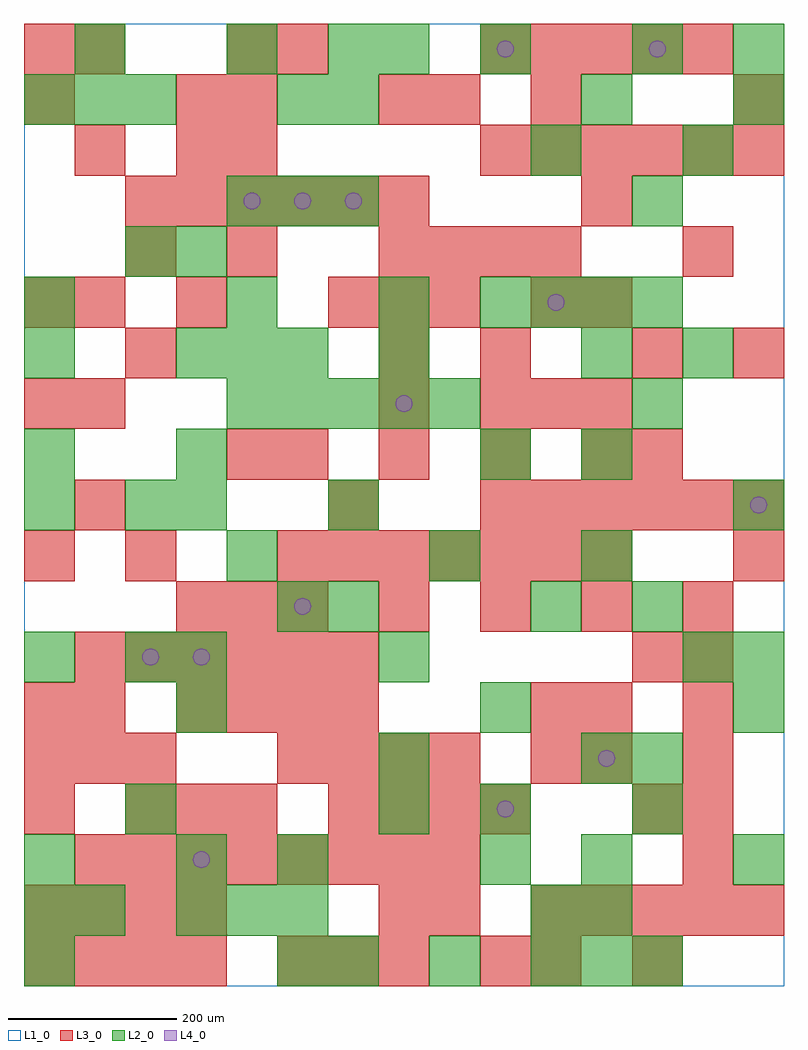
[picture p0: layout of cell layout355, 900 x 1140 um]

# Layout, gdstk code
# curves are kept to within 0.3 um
import gdstk
lib = gdstk.Library(unit=1e-6, precision=1e-09)
def R(c, l, rs):  # rectangles x0, y0, x1, y1
    for r in rs: c.add(gdstk.rectangle(r[:2], r[2:], *l))
def A(c, l, x, y, w, h, nx, ny, dx, dy):  # array of equal rectangles
    R(c, l, [(x+i*dx, y+j*dy, x+i*dx+w, y+j*dy+h) for i in range(nx) for j in range(ny)])
def P(c, l, *ps):  # polygons
    for p in ps: c.add(gdstk.Polygon(p, *l))
L1_0 = (1, 0)
L2_0 = (2, 0)
L3_0 = (3, 0)
L4_0 = (4, 0)

layout355 = lib.new_cell('layout355')
R(layout355, L1_0, [(0,0,900,1140)])
A(layout355, L2_0, 0, 0, 60, 60, 1, 3, 0, 60)
A(layout355, L2_0, 360, 0, 60, 60, 3, 1, 120, 0)
A(layout355, L2_0, 660, 0, 60, 60, 1, 3, 0, 60)
A(layout355, L2_0, 180, 60, 60, 60, 3, 2, 60, 660)
A(layout355, L2_0, 120, 180, 60, 60, 1, 3, 0, 180)
A(layout355, L2_0, 720, 420, 60, 60, 1, 3, 0, 240)
A(layout355, L2_0, 240, 480, 60, 60, 1, 3, 0, 300)
A(layout355, L2_0, 660, 480, 60, 60, 1, 3, 0, 120)
A(layout355, L2_0, 240, 660, 60, 60, 5, 1, 60, 0)
A(layout355, L2_0, 540, 780, 60, 60, 4, 1, 60, 0)
A(layout355, L2_0, 240, 900, 60, 60, 3, 1, 60, 0)
A(layout355, L2_0, 0, 1020, 60, 60, 3, 1, 60, 0)
R(layout355, L2_0, [(300,0,360,60), (720,0,780,60), (60,60,120,120), (600,60,660,120), (180,120,240,180), (300,120,360,180), (540,120,600,180), (840,120,900,180), (420,180,480,240), (540,180,600,240), (720,180,780,240), (420,240,480,300), (660,240,720,300), (720,240,780,300), (180,300,240,360), (540,300,600,360), (840,300,900,360), (0,360,60,420), (180,360,240,420), (420,360,480,420), (780,360,840,420), (840,360,900,420), (300,420,360,480), (360,420,420,480), (600,420,660,480), (480,480,540,540), (0,540,60,600), (180,540,240,600), (360,540,420,600), (840,540,900,600), (0,600,60,660), (180,600,240,660), (540,600,600,660), (0,720,60,780), (420,720,480,780), (780,720,840,780), (0,780,60,840), (420,780,480,840), (120,840,180,900), (180,840,240,900), (600,960,660,1020), (780,960,840,1020), (300,1020,360,1080), (360,1020,420,1080), (660,1020,720,1080), (840,1020,900,1080), (60,1080,120,1140), (360,1080,420,1140), (420,1080,480,1140), (540,1080,600,1140), (720,1080,780,1140), (840,1080,900,1140)])
A(layout355, L3_0, 0, 0, 60, 60, 4, 2, 60, 60)
A(layout355, L3_0, 300, 0, 60, 60, 3, 1, 60, 0)
A(layout355, L3_0, 720, 0, 60, 60, 1, 3, 0, 180)
A(layout355, L3_0, 600, 60, 60, 60, 5, 1, 60, 0)
A(layout355, L3_0, 60, 120, 60, 60, 8, 1, 60, 0)
A(layout355, L3_0, 780, 120, 60, 60, 1, 5, 0, 60)
A(layout355, L3_0, 120, 180, 60, 60, 3, 1, 60, 0)
A(layout355, L3_0, 360, 180, 60, 60, 4, 1, 60, 0)
A(layout355, L3_0, 0, 240, 60, 60, 3, 1, 60, 0)
A(layout355, L3_0, 300, 240, 60, 60, 4, 1, 60, 0)
A(layout355, L3_0, 0, 300, 60, 60, 1, 3, 0, 180)
A(layout355, L3_0, 180, 300, 60, 60, 4, 1, 60, 0)
A(layout355, L3_0, 60, 360, 60, 60, 6, 1, 60, 0)
A(layout355, L3_0, 180, 420, 60, 60, 3, 1, 60, 0)
A(layout355, L3_0, 420, 420, 60, 60, 4, 1, 120, 0)
A(layout355, L3_0, 300, 480, 60, 60, 7, 1, 60, 0)
A(layout355, L3_0, 60, 540, 60, 60, 1, 3, 0, 120)
A(layout355, L3_0, 540, 540, 60, 60, 6, 2, 60, 420)
A(layout355, L3_0, 300, 600, 60, 60, 4, 1, 120, 0)
A(layout355, L3_0, 540, 660, 60, 60, 3, 1, 60, 0)
A(layout355, L3_0, 360, 780, 60, 60, 3, 1, 60, 0)
A(layout355, L3_0, 420, 840, 60, 60, 4, 1, 60, 0)
A(layout355, L3_0, 120, 900, 60, 60, 6, 1, 60, 0)
A(layout355, L3_0, 240, 960, 60, 60, 1, 3, 0, 60)
A(layout355, L3_0, 540, 1080, 60, 60, 5, 1, 60, 0)
R(layout355, L3_0, [(540,0,600,60), (600,0,660,60), (420,60,480,120), (480,60,540,120), (0,180,60,240), (600,240,660,300), (660,240,720,300), (60,300,120,360), (600,300,660,360), (660,300,720,360), (120,480,180,540), (840,480,900,540), (360,540,420,600), (240,600,300,660), (720,600,780,660), (420,660,480,720), (120,720,180,780), (420,720,480,780), (540,720,600,780), (720,720,780,780), (840,720,900,780), (0,780,60,840), (180,780,240,840), (600,780,660,840), (660,780,720,840), (120,840,180,900), (240,840,300,900), (780,840,840,900), (660,900,720,960), (60,960,120,1020), (180,960,240,1020), (0,1020,60,1080), (180,1020,240,1080), (420,1020,480,1080), (480,1020,540,1080), (600,1020,660,1080), (840,1020,900,1080), (0,1080,60,1140), (60,1080,120,1140), (300,1080,360,1140)])
P(layout355, L4_0, [(160,390),(159.239,393.827),(157.071,397.071),(153.827,399.239),(150,400),(146.173,399.239),(142.929,397.071),(140.761,393.827),(140,390),(140.761,386.173),(142.929,382.929),(146.173,380.761),(150,380),(153.827,380.761),(157.071,382.929),(159.239,386.173)],
  [(220,150),(219.239,153.827),(217.071,157.071),(213.827,159.239),(210,160),(206.173,159.239),(202.929,157.071),(200.761,153.827),(200,150),(200.761,146.173),(202.929,142.929),(206.173,140.761),(210,140),(213.827,140.761),(217.071,142.929),(219.239,146.173)],
  [(220,390),(219.239,393.827),(217.071,397.071),(213.827,399.239),(210,400),(206.173,399.239),(202.929,397.071),(200.761,393.827),(200,390),(200.761,386.173),(202.929,382.929),(206.173,380.761),(210,380),(213.827,380.761),(217.071,382.929),(219.239,386.173)],
  [(280,930),(279.239,933.827),(277.071,937.071),(273.827,939.239),(270,940),(266.173,939.239),(262.929,937.071),(260.761,933.827),(260,930),(260.761,926.173),(262.929,922.929),(266.173,920.761),(270,920),(273.827,920.761),(277.071,922.929),(279.239,926.173)],
  [(340,450),(339.239,453.827),(337.071,457.071),(333.827,459.239),(330,460),(326.173,459.239),(322.929,457.071),(320.761,453.827),(320,450),(320.761,446.173),(322.929,442.929),(326.173,440.761),(330,440),(333.827,440.761),(337.071,442.929),(339.239,446.173)],
  [(340,930),(339.239,933.827),(337.071,937.071),(333.827,939.239),(330,940),(326.173,939.239),(322.929,937.071),(320.761,933.827),(320,930),(320.761,926.173),(322.929,922.929),(326.173,920.761),(330,920),(333.827,920.761),(337.071,922.929),(339.239,926.173)],
  [(400,930),(399.239,933.827),(397.071,937.071),(393.827,939.239),(390,940),(386.173,939.239),(382.929,937.071),(380.761,933.827),(380,930),(380.761,926.173),(382.929,922.929),(386.173,920.761),(390,920),(393.827,920.761),(397.071,922.929),(399.239,926.173)],
  [(460,690),(459.239,693.827),(457.071,697.071),(453.827,699.239),(450,700),(446.173,699.239),(442.929,697.071),(440.761,693.827),(440,690),(440.761,686.173),(442.929,682.929),(446.173,680.761),(450,680),(453.827,680.761),(457.071,682.929),(459.239,686.173)],
  [(580,210),(579.239,213.827),(577.071,217.071),(573.827,219.239),(570,220),(566.173,219.239),(562.929,217.071),(560.761,213.827),(560,210),(560.761,206.173),(562.929,202.929),(566.173,200.761),(570,200),(573.827,200.761),(577.071,202.929),(579.239,206.173)],
  [(580,1110),(579.239,1113.827),(577.071,1117.071),(573.827,1119.239),(570,1120),(566.173,1119.239),(562.929,1117.071),(560.761,1113.827),(560,1110),(560.761,1106.173),(562.929,1102.929),(566.173,1100.761),(570,1100),(573.827,1100.761),(577.071,1102.929),(579.239,1106.173)],
  [(640,810),(639.239,813.827),(637.071,817.071),(633.827,819.239),(630,820),(626.173,819.239),(622.929,817.071),(620.761,813.827),(620,810),(620.761,806.173),(622.929,802.929),(626.173,800.761),(630,800),(633.827,800.761),(637.071,802.929),(639.239,806.173)],
  [(700,270),(699.239,273.827),(697.071,277.071),(693.827,279.239),(690,280),(686.173,279.239),(682.929,277.071),(680.761,273.827),(680,270),(680.761,266.173),(682.929,262.929),(686.173,260.761),(690,260),(693.827,260.761),(697.071,262.929),(699.239,266.173)],
  [(760,1110),(759.239,1113.827),(757.071,1117.071),(753.827,1119.239),(750,1120),(746.173,1119.239),(742.929,1117.071),(740.761,1113.827),(740,1110),(740.761,1106.173),(742.929,1102.929),(746.173,1100.761),(750,1100),(753.827,1100.761),(757.071,1102.929),(759.239,1106.173)],
  [(880,570),(879.239,573.827),(877.071,577.071),(873.827,579.239),(870,580),(866.173,579.239),(862.929,577.071),(860.761,573.827),(860,570),(860.761,566.173),(862.929,562.929),(866.173,560.761),(870,560),(873.827,560.761),(877.071,562.929),(879.239,566.173)])

lib.write_gds('layout355.gds')
